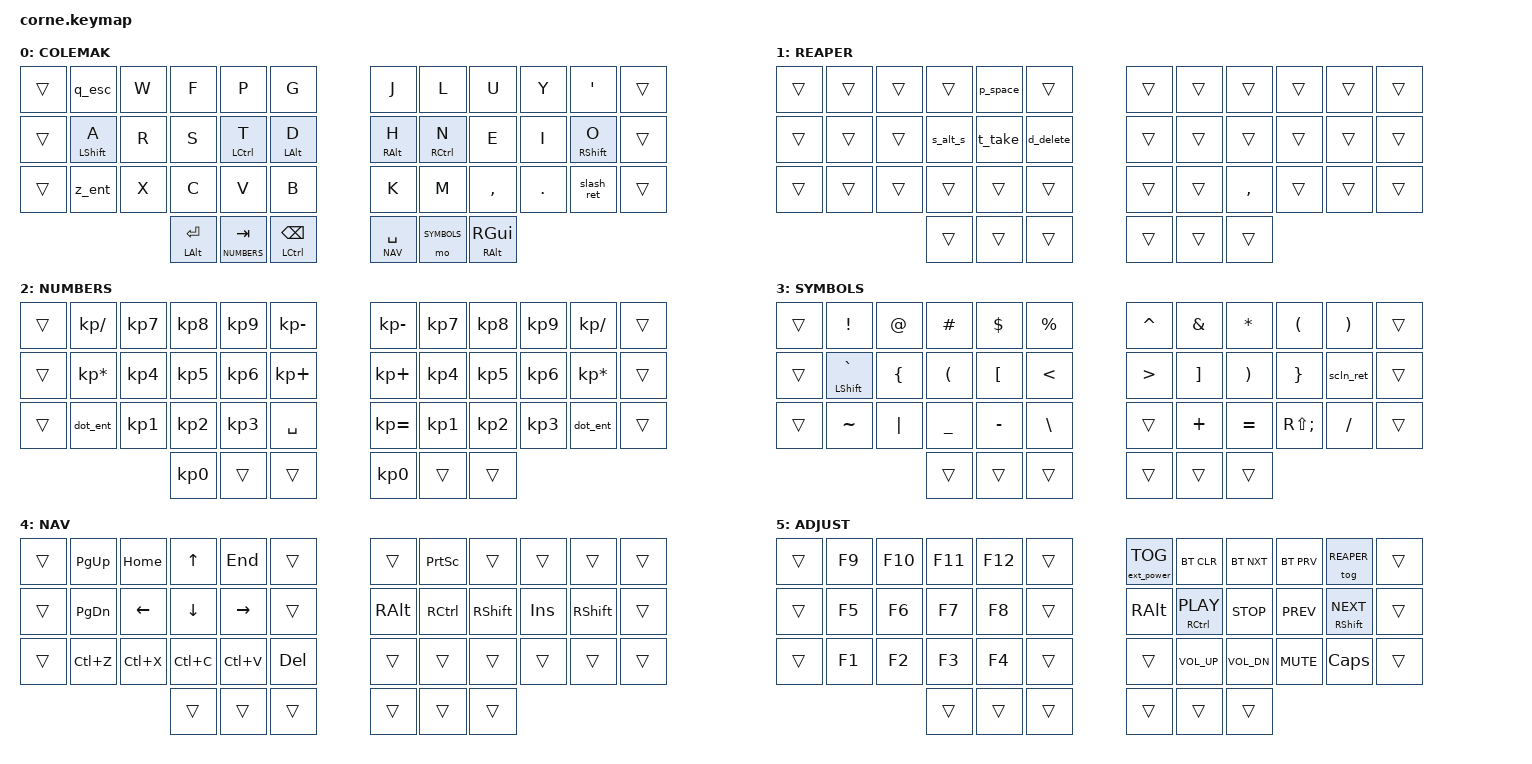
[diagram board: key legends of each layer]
/*
 * Copyright (c) 2020 The ZMK Contributors
 *
 * SPDX-License-Identifier: MIT
 */

#include <behaviors.dtsi>
#include <dt-bindings/zmk/keys.h>
#include <dt-bindings/zmk/bt.h>
#include <dt-bindings/zmk/ext_power.h>

#define COLEMAK   0
#define REAPER 1
#define NUMBERS  2
#define SYMBOLS  3
#define NAV  4
#define ADJUST 5

/ {
    behaviors {
        hm: homerow_mods {
            compatible = "zmk,behavior-hold-tap";
            label = "HOMEROW_MODS";
            #binding-cells = <2>;
            tapping-term-ms = <200>;
            quick_tap_ms = <0>;
            flavor = "tap-preferred";
            bindings = <&kp>, <&kp>;
        };
        fhm: fast_homerow_mods {
            compatible = "zmk,behavior-hold-tap";
            label = "FRST_HOMEROW_MODS";
            #binding-cells = <2>;
            tapping-term-ms = <150>;
            quick_tap_ms = <0>;
            flavor = "tap-preferred";
            bindings = <&kp>, <&kp>;
        };
        TAB_NUMBERS: tap_dance_0 {
            compatible = "zmk,behavior-tap-dance";
            label = "TAP_DANCE_0";
            #binding-cells = <0>;
            tapping-term-ms = <200>;
            bindings = <&mo NUMBERS>, <&kp TAB>;
        };
        slash_ret: tap_dance_1 {
            compatible = "zmk,behavior-tap-dance";
            label = "TAP_DANCE_1";
            #binding-cells = <0>;
            tapping-term-ms = <200>;
            bindings = <&kp FSLH>, <&kp RET>;
        };
        q_esc: tap_dance_2 {
            compatible = "zmk,behavior-tap-dance";
            label = "TAP_DANCE_2";
            #binding-cells = <0>;
            tapping-term-ms = <200>;
            bindings = <&kp Q>, <&kp ESC>;
        };
        z_ent: tap_dance_3 {
            compatible = "zmk,behavior-tap-dance";
            label = "TAP_DANCE_3";
            #binding-cells = <0>;
            tapping-term-ms = <200>;
            bindings = <&kp Z>, <&kp ENTER>;
        };
        p_space: tap_dance_4 {
            compatible = "zmk,behavior-tap-dance";
            label = "TAP_DANCE_4";
            #binding-cells = <0>;
            tapping-term-ms = <200>;
            bindings = <&kp P>, <&kp SPACE>;
        };
        s_alt_s: tap_dance_5 {
            compatible = "zmk,behavior-tap-dance";
            label = "TAP_DANCE_5";
            #binding-cells = <0>;
            tapping-term-ms = <200>;
            bindings = <&kp S>, <&s_alt_s_macro>;
        };
        d_delete: tap_dance_6 {
            compatible = "zmk,behavior-tap-dance";
            label = "TAP_DANCE_6";
            #binding-cells = <0>;
            tapping-term-ms = <200>;
            bindings = <&kp D>, <&kp DEL>;
        };
        dot_ent: tap_dance_7 {
            compatible = "zmk,behavior-tap-dance";
            label = "TAP_DANCE_7";
            #binding-cells = <0>;
            tapping-term-ms = <200>;
            bindings = <&kp DOT>, <&kp ENTER>;
        };
    };

    macros {
        scln_ret: scln_ret {
            label = "ZM_scln_ret";
            compatible = "zmk,behavior-macro";
            #binding-cells = <0>;
            bindings
                = <&macro_tap &kp SEMI &kp RET>;
        };
        t_take: t_take {
            label = "ZM_t_take";
            compatible = "zmk,behavior-macro";
            #binding-cells = <0>;
            bindings
                = <&macro_press &kp LSHFT>,
                <&macro_press &kp LALT>,
                <&macro_tap &kp T>,
                <&macro_release &kp LALT>,
                <&macro_release &kp LSHFT>
                ;
        };
        s_alt_s_macro: s_alt_s_macro {
            label = "ZM_s_alt_s_macro";
            compatible = "zmk,behavior-macro";
            #binding-cells = <0>;
            bindings
                = 
                <&macro_press &kp LALT>,
                <&macro_tap &kp S>,
                <&macro_release &kp LALT>
                ;
        };
    };

     combos {
            compatible = "zmk,combos";
            combo_cw {
                layers = <0> ;
                timeout-ms = <50>;
                key-positions = <11 20>;
                bindings = <&caps_word>;
            };
    };
    
   
    conditional_layers {
        compatible = "zmk,conditional-layers";
        tri_layer {
            if-layers = <NUMBERS SYMBOLS>;
            then-layer = <ADJUST>;
        };
    };

        keymap {
                compatible = "zmk,keymap";

                colemak_layer {
                label= "COLEMAK"                                                  ;
// -----------------------------------------------------------------------------------------
// |  TAB |  Q  |  W  |  E  |  R  |  T  |   |  Y  |  U   |  I  |  O  |  P  | BKSP |
// | CTRL |  A  |  S  |  D  |  F  |  G  |   |  H  |  J   |  K  |  L  |  ;  |  '   |
// | SHFT |  Z  |  X  |  C  |  V  |  B  |   |  N  |  M   |  ,  |  .  |  /  | ESC  |
//                    | GUI | LWR | SPC |   | ENT | RSE  | ALT |
   bindings = <
 //╷         ╷         ╷         ╷         ╷         ╷         ╷         ╷╷         ╷         ╷         ╷         ╷         ╷         ╷         ╷
    &trans &q_esc     &kp W     &kp F     &kp P     &kp G                &kp J     &kp L     &kp U     &kp Y     &kp SQT   &trans   
    &trans &fhm LSHFT A   &kp R     &kp S  &fhm LCTRL T &fhm LALT D        &fhm RALT H  &fhm RCTRL N &kp E    &kp I  &fhm RSHFT O   &trans   
    &trans &z_ent     &kp X     &kp C     &kp V     &kp B                &kp K     &kp M   &kp COMMA  &kp DOT   &slash_ret  &trans 
                        &mt LALT RET   &lt NUMBERS TAB   &mt LCTRL BSPC      &lt NAV SPACE   &mo SYMBOLS &mt RALT RGUI    
                        >;
                };
                reaper_layer {
// ┌───────────────────────────────────────────────────────────┐
label= "REAPER"                                                  ;
// └───────────────────────────────────────────────────────────┘
/*           ┌─────────┬─────────┬─────────┬─────────┬─────────┐                    ┌─────────┬─────────┬─────────┬─────────┬─────────┐
             │    Q    │    W    │    F    │    P    │    G    │                    │    J    │    L    │    U    │    Y    │    ;    │   
   ┌─────────┼─────────┼─────────┼─────────┼─────────┼─────────┤                    ├─────────┼─────────┼─────────┼─────────┼─────────┼─────────┐
   │   TAB   │    A    │    R    │    S    │    T    │    D    │                    │    H    │    N    │    E    │    I    │    O    │    "    │
   ├─────────┼─────────┼─────────┼─────────┼─────────┼─────────┤╭────────╮╭────────╮├─────────┼─────────┼─────────┼─────────┼─────────┼─────────┤
   │   DEL   │    Z    │    X    │    C    │    V    │    B    ││  MUTE  ││PLY/PSE ││    K    │    M    │    ,    │    .    │    /    │    \    │
   └─────────┴─────────┴─────────┼─────────┼─────────┼─────────┼╰────────╯╰────────╯┼─────────┼─────────┼─────────┼─────────┴─────────┴─────────┘
                                 │  CTRL   │  LOWER  │  SPACE  │   ALT   ││ CMD/WIN │  ENTER  │  RAISE  │  BSPCE  │  
                                 └─────────┴─────────┴─────────┴─────────┘└─────────┴─────────┴─────────┴─────────┘ */ 
 bindings = <
 //╷         ╷         ╷         ╷         ╷         ╷         ╷         ╷╷         ╷         ╷         ╷         ╷         ╷         ╷         ╷
&trans &trans   &trans   &trans    &p_space    &trans                    &trans     &trans     &trans     &trans     &trans &trans 
&trans &trans   &trans  &s_alt_s  &t_take &d_delete                      &trans    &trans     &trans     &trans     &trans &trans 
&trans &trans   &trans  &trans     &trans     &trans                     &trans     &trans     &kp COMMA &trans   &trans &trans 
                            &trans   &trans   &trans                      &trans   &trans &trans    
                        >;
                };
// ▄▄▄▄▄▄▄▄▄▄▄▄▄▄▄▄▄▄▄▄▄▄▄▄▄▄▄▄▄▄▄▄▄▄▄▄▄▄▄▄▄▄▄▄▄▄▄▄▄▄▄▄▄▄▄▄▄▄▄▄▄▄▄▄▄▄▄▄▄▄▄▄▄▄▄▄▄▄▄▄▄▄▄▄▄▄▄▄▄▄▄▄▄▄▄▄▄▄▄▄▄▄▄▄▄▄▄▄▄▄▄▄▄▄▄▄▄▄▄▄▄▄▄▄▄▄▄▄▄▄▄▄▄▄▄▄▄▄▄▄▄▄


                number_layer {
// ┌───────────────────────────────────────────────────────────┐
label= "NUMBERS"                                                 ;
// └───────────────────────────────────────────────────────────┘
/*           ┌─────────┬─────────┬─────────┬─────────┬─────────┐                    ┌─────────┬─────────┬─────────┬─────────┬─────────┐
             │         │         │    UP   │         │    {    │                    │    }    │    7    │    8    │    9    │    +    │
   ┌─────────┼─────────┼─────────┼─────────┼─────────┼─────────┤                    ├─────────┼─────────┼─────────┼─────────┼─────────┼─────────┐
   │         │         │   LEFT  │  DOWN   │  RIGHT  │    [    │                    │    ]    │    4    │    5    │    6    │    -    │         │
   ├─────────┼─────────┼─────────┼─────────┼─────────┼─────────┤╭────────╮╭────────╮├─────────┼─────────┼─────────┼─────────┼─────────┼─────────┤
   │         │         │   P UP  │ C LOCK  │ P DOWN  │    (    ││        ││        ││    )    │    1    │    2    │    3    │    *    │         │
   └─────────┴─────────┴─────────┼─────────┼─────────┼─────────┼╰────────╯╰────────╯┼─────────┼─────────┼─────────┼─────────┴─────────┴─────────┘
                                 │         │         │         │         ││         │         │    0    │         │  
                                 └─────────┴─────────┴─────────┴─────────┘└─────────┴─────────┴─────────┴─────────┘ */ 
 bindings = <
 //╷         ╷         ╷         ╷         ╷         ╷         ╷         ╷╷         ╷         ╷         ╷         ╷         ╷         ╷         ╷
 &trans   &kp KP_DIVIDE &kp KP_N7 &kp KP_N8 &kp KP_N9  &kp KP_MINUS       &kp KP_MINUS  &kp KP_N7 &kp KP_N8 &kp KP_N9 &kp KP_DIVIDE &trans 
 &trans   &kp KP_MULTIPLY    &kp KP_N4 &kp KP_N5 &kp KP_N6 &kp KP_PLUS    &kp KP_PLUS  &kp KP_N4 &kp KP_N5 &kp KP_N6 &kp KP_MULTIPLY &trans 
 &trans   &dot_ent   &kp KP_N1 &kp KP_N2 &kp KP_N3 &kp SPACE            &kp KP_EQUAL  &kp KP_N1 &kp KP_N2 &kp KP_N3 &dot_ent &trans 
                                  &kp KP_N0     &trans    &trans                &kp KP_N0 &trans &trans  
                        >;
                };

// ▄▄▄▄▄▄▄▄▄▄▄▄▄▄▄▄▄▄▄▄▄▄▄▄▄▄▄▄▄▄▄▄▄▄▄▄▄▄▄▄▄▄▄▄▄▄▄▄▄▄▄▄▄▄▄▄▄▄▄▄▄▄▄▄▄▄▄▄▄▄▄▄▄▄▄▄▄▄▄▄▄▄▄▄▄▄▄▄▄▄▄▄▄▄▄▄▄▄▄▄▄▄▄▄▄▄▄▄▄▄▄▄▄▄▄▄▄▄▄▄▄▄▄▄▄


                symbol_layer {
// ┌───────────────────────────────────────────────────────────┐
label= "SYMBOLS"                                                 ;
// └───────────────────────────────────────────────────────────┘
/*           ┌─────────┬─────────┬─────────┬─────────┬─────────┐                    ┌─────────┬─────────┬─────────┬─────────┬─────────┐
             │         │         │         │         │         │                    │         │         │    Ü    │         │         │
   ┌─────────┼─────────┼─────────┼─────────┼─────────┼─────────┤                    ├─────────┼─────────┼─────────┼─────────┼─────────┼─────────┐
   │    Ä    │         │    ß    │         │         │         │                    │         │         │         │         │    Ö    │         │
   ├─────────┼─────────┼─────────┼─────────┼─────────┼─────────┤╭────────╮╭────────╮├─────────┼─────────┼─────────┼─────────┼─────────┼─────────┤
   │         │         │         │         │         │         ││        ││        ││         │         │         │         │         │         │
   └─────────┴─────────┴─────────┼─────────┼─────────┼─────────┼╰────────╯╰────────╯┼─────────┼─────────┼─────────┼─────────┴─────────┴─────────┘
                                 │ ADJUST  │         │         │         ││         │         │         │         │  
                                 └─────────┴─────────┴─────────┴─────────┘└─────────┴─────────┴─────────┴─────────┘ */ 
 bindings = <
 //╷         ╷         ╷         ╷         ╷         ╷         ╷         ╷╷         ╷         ╷         ╷         ╷         ╷         ╷         ╷
 &trans     &kp EXCL   &kp AT   &kp HASH  &kp DLLR  &kp PRCNT                      &kp CARET &kp AMPS  &kp STAR  &kp LPAR    &kp RPAR      &trans 
 &trans    &hm LSHFT GRAVE  &kp LBRC &kp LPRN  &kp LBKT  &kp LT                          &kp GT    &kp RBKT  &kp RPRN  &kp RBRC    &scln_ret   &trans 
 &trans    &kp TILDE  &kp PIPE &kp UNDER  &kp MINUS  &kp BSLH                   &trans &kp PLUS  &kp EQUAL &kp RS(SEMI)    &kp FSLH    &trans 
                                  &trans &trans   &trans                            &trans    &trans    &trans  
                        >;
                };

// ▄▄▄▄▄▄▄▄▄▄▄▄▄▄▄▄▄▄▄▄▄▄▄▄▄▄▄▄▄▄▄▄▄▄▄▄▄▄▄▄▄▄▄▄▄▄▄▄▄▄▄▄▄▄▄▄▄▄▄▄▄▄▄▄▄▄▄▄▄▄▄▄▄▄▄▄▄▄▄▄▄▄▄▄▄▄▄▄▄▄▄▄▄▄▄▄▄▄▄▄▄▄▄▄▄▄▄▄▄▄▄▄▄▄▄▄▄▄▄▄▄▄▄▄▄

                nav_layer {
// ┌───────────────────────────────────────────────────────────┐
label= "NAV"                                                 ;
// └───────────────────────────────────────────────────────────┘
/*           ┌─────────┬─────────┬─────────┬─────────┬─────────┐                    ┌─────────┬─────────┬─────────┬─────────┬─────────┐
             │         │         │         │         │         │                    │         │         │    Ü    │         │         │
   ┌─────────┼─────────┼─────────┼─────────┼─────────┼─────────┤                    ├─────────┼─────────┼─────────┼─────────┼─────────┼─────────┐
   │    Ä    │         │    ß    │         │         │         │                    │         │         │         │         │    Ö    │         │
   ├─────────┼─────────┼─────────┼─────────┼─────────┼─────────┤╭────────╮╭────────╮├─────────┼─────────┼─────────┼─────────┼─────────┼─────────┤
   │         │         │         │         │         │         ││        ││        ││         │         │         │         │         │         │
   └─────────┴─────────┴─────────┼─────────┼─────────┼─────────┼╰────────╯╰────────╯┼─────────┼─────────┼─────────┼─────────┴─────────┴─────────┘
                                 │ ADJUST  │         │         │         ││         │         │         │         │  
                                 └─────────┴─────────┴─────────┴─────────┘└─────────┴─────────┴─────────┴─────────┘ */ 
 bindings = <
 //╷         ╷         ╷         ╷         ╷         ╷         ╷         ╷╷         ╷         ╷         ╷         ╷         ╷         ╷         ╷
   &trans  &kp PG_UP    &kp HOME    &kp UP    &kp END    &trans                         &trans    &kp PSCRN    &trans &trans    &trans     &trans 
   &trans  &kp PG_DN    &kp LEFT &kp DOWN  &kp RIGHT    &trans                         &kp RALT    &kp RCTRL  &kp RSHFT    &kp INSERT    &kp RSHFT   &trans 
   &trans     &kp LC(Z)  &kp LC(X)  &kp LC(C)  &kp LC(V)    &kp DEL                     &trans    &trans    &trans    &trans    &trans    &trans 
                                  &trans &trans   &trans                           &trans    &trans    &trans  
                        >;
                };

// ▄▄▄▄▄▄▄▄▄▄▄▄▄▄▄▄▄▄▄▄▄▄▄▄▄▄▄▄▄▄▄▄▄▄▄▄▄▄▄▄▄▄▄▄▄▄▄▄▄▄▄▄▄▄▄▄▄▄▄▄▄▄▄▄▄▄▄▄▄▄▄▄▄▄▄▄▄▄▄▄▄▄▄▄▄▄▄▄▄▄▄▄▄▄▄▄▄▄▄▄▄▄▄▄▄▄▄▄▄▄▄▄▄▄▄▄▄▄▄▄▄▄▄▄▄
                adjust_layer {
// ┌───────────────────────────────────────────────────────────┐
label= "ADJUST"                                                ;
// └───────────────────────────────────────────────────────────┘

 bindings = <
 //╷         ╷         ╷         ╷         ╷         ╷         ╷         ╷╷         ╷         ╷         ╷         ╷         ╷         ╷         ╷
&trans &kp F9      &kp F10   &kp F11   &kp F12     &trans                   &ext_power EP_TOG    &bt BT_CLR &bt BT_NXT &bt BT_PRV  &tog REAPER &trans 
&trans &kp F5      &kp F6   &kp F7   &kp F8     &trans                      &kp RALT    &hm RCTRL C_PLAY &kp C_STOP &kp C_PREV  &hm RSHFT C_NEXT  &trans  
&trans &kp F1    &kp F2   &kp F3   &kp F4     &trans                        &trans    &kp C_VOL_UP &kp C_VOL_DN   &kp C_MUTE &kp CAPS    &trans 
                                         &trans    &trans    &trans                &trans    &trans    &trans    
                        >;
                };
        };
};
